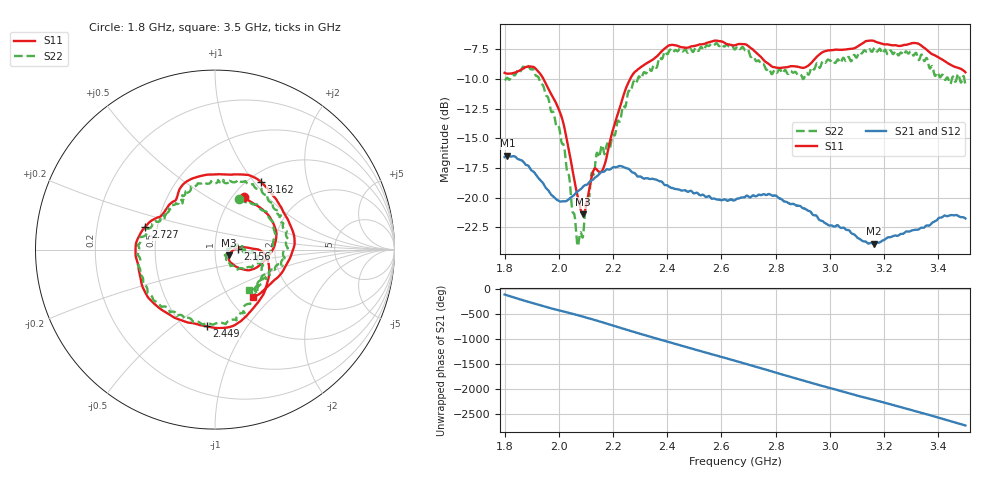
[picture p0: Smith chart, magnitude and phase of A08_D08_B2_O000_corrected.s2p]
! Created with skrf 1.9.0 (http://scikit-rf.org).
# Hz S RI R 50.0
!freq ReS11 ImS11 ReS21 ImS21 ReS12 ImS12 ReS22 ImS22
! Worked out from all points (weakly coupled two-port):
!   1601 points, 1.8 GHz to 3.5 GHz, reference 50 ohm
!   highest |S21| = -16.48 dB at 1.811 GHz (marker M1); lowest = -23.9 dB at 3.162 GHz (marker M2)
!   lowest |S11| = -21.4 dB at 2.09 GHz (marker M3), VSWR 1.19, Z = 58.5 - j3.7 ohm
!   |S11| at or under -10 dB: 1.943 GHz to 2.263 GHz (320.2 MHz wide, 15.2 % of centre)
!   |S22| runs from -24.1 to -7.0 dB; largest |S21 - S12| = 0.003
!   S11 on the Smith chart (normalised r, x): 1.8 GHz: 1.13, +0.74; 2.156 GHz: 1.29, +0.01; 2.449 GHz: 0.64, -0.67; 2.727 GHz: 0.43, +0.13; 3.162 GHz: 1.14, +1.09; 3.5 GHz: 1.28, -0.76
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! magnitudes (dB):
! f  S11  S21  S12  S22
! 1.8 GHz  -9.5  -16.6  -16.6  -10.1
! 1.811 GHz  -9.6  -16.5  -16.5  -9.9
! 1.887 GHz  -9.0  -17.3  -17.4  -8.9
! 1.94 GHz  -9.9  -18.7  -18.7  -10.5
! 2.013 GHz  -13.4  -20.3  -20.3  -15.5
! 2.067 GHz  -19.6  -19.5  -19.5  -23.7
! 2.084 GHz  -21.2  -19.2  -19.2  -23.1
! 2.09 GHz  -21.4  -19.1  -19.1  -23.1
! 2.127 GHz  -17.8  -18.5  -18.5  -18.1
! 2.156 GHz  -17.8  -17.9  -17.9  -15.8
! 2.191 GHz  -15.0  -17.6  -17.6  -15.6
! 2.26 GHz  -10.2  -17.6  -17.6  -11.0
! 2.367 GHz  -8.0  -18.6  -18.5  -8.5
! 2.449 GHz  -7.3  -19.4  -19.4  -7.5
! 2.65 GHz  -7.2  -20.2  -20.2  -7.5
! 2.727 GHz  -7.8  -19.9  -19.9  -8.5
! 2.799 GHz  -9.0  -19.8  -19.8  -9.3
! 2.934 GHz  -8.6  -21.3  -21.3  -9.0
! 3.162 GHz  -6.8  -23.9  -23.8  -7.5
! 3.217 GHz  -7.1  -23.3  -23.3  -7.8
! 3.324 GHz  -7.0  -22.7  -22.7  -8.2
! 3.5 GHz  -9.4  -21.7  -21.7  -10.5
